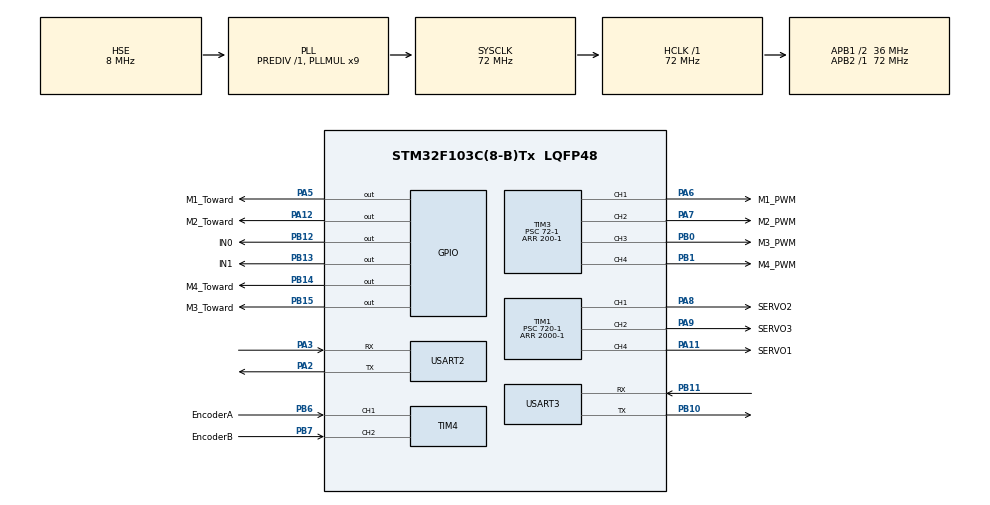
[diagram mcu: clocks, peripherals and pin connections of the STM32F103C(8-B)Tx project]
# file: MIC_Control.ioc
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Dma.Request0=USART2_RX
Dma.Request1=USART2_TX
Dma.Request2=USART3_RX
Dma.Request3=USART3_TX
Dma.USART2_RX.0.Direction=DMA_PERIPH_TO_MEMORY
Dma.USART2_RX.0.Instance=DMA1_Channel6
Dma.USART2_RX.0.MemDataAlignment=DMA_MDATAALIGN_BYTE
Dma.USART2_RX.0.MemInc=DMA_MINC_ENABLE
Dma.USART2_RX.0.Mode=DMA_NORMAL
Dma.USART2_RX.0.PeriphDataAlignment=DMA_PDATAALIGN_BYTE
Dma.USART2_RX.0.PeriphInc=DMA_PINC_DISABLE
Dma.USART2_RX.0.Priority=DMA_PRIORITY_LOW
Dma.USART2_TX.1.Direction=DMA_MEMORY_TO_PERIPH
Dma.USART2_TX.1.Instance=DMA1_Channel7
Dma.USART2_TX.1.MemDataAlignment=DMA_MDATAALIGN_BYTE
Dma.USART2_TX.1.MemInc=DMA_MINC_ENABLE
Dma.USART2_TX.1.Mode=DMA_NORMAL
Dma.USART2_TX.1.PeriphDataAlignment=DMA_PDATAALIGN_BYTE
Dma.USART2_TX.1.PeriphInc=DMA_PINC_DISABLE
Dma.USART2_TX.1.Priority=DMA_PRIORITY_LOW
Dma.USART3_RX.2.Direction=DMA_PERIPH_TO_MEMORY
Dma.USART3_RX.2.Instance=DMA1_Channel3
Dma.USART3_RX.2.MemDataAlignment=DMA_MDATAALIGN_BYTE
Dma.USART3_RX.2.MemInc=DMA_MINC_ENABLE
Dma.USART3_RX.2.Mode=DMA_NORMAL
Dma.USART3_RX.2.PeriphDataAlignment=DMA_PDATAALIGN_BYTE
Dma.USART3_RX.2.PeriphInc=DMA_PINC_DISABLE
Dma.USART3_RX.2.Priority=DMA_PRIORITY_LOW
Dma.USART3_TX.3.Direction=DMA_MEMORY_TO_PERIPH
Dma.USART3_TX.3.Instance=DMA1_Channel2
Dma.USART3_TX.3.MemDataAlignment=DMA_MDATAALIGN_BYTE
Dma.USART3_TX.3.MemInc=DMA_MINC_ENABLE
Dma.USART3_TX.3.Mode=DMA_NORMAL
Dma.USART3_TX.3.PeriphDataAlignment=DMA_PDATAALIGN_BYTE
Dma.USART3_TX.3.PeriphInc=DMA_PINC_DISABLE
Dma.USART3_TX.3.Priority=DMA_PRIORITY_LOW
Mcu.Family=STM32F1
Mcu.Name=STM32F103C(8-B)Tx
Mcu.Package=LQFP48
NVIC.DMA1_Channel2_IRQn=true\:0\:0\:false\:false\:true\:false\:true\:true
NVIC.DMA1_Channel3_IRQn=true\:0\:0\:false\:false\:true\:false\:true\:true
NVIC.DMA1_Channel6_IRQn=true\:0\:0\:false\:false\:true\:false\:true\:true
NVIC.DMA1_Channel7_IRQn=true\:0\:0\:false\:false\:true\:false\:true\:true
NVIC.PriorityGroup=NVIC_PRIORITYGROUP_4
NVIC.TIM2_IRQn=true\:0\:0\:false\:false\:true\:true\:true\:true
NVIC.USART2_IRQn=true\:0\:0\:false\:false\:true\:false\:true\:true
NVIC.USART3_IRQn=true\:0\:0\:false\:false\:true\:false\:true\:true
PA11.GPIO_Label=SERVO1
PA11.Signal=S_TIM1_CH4
PA12.GPIO_Label=M2_Toward
PA12.GPIO_PuPd=GPIO_PULLUP
PA12.GPIO_Speed=GPIO_SPEED_FREQ_HIGH
PA12.PinState=GPIO_PIN_RESET
PA12.Signal=GPIO_Output
PA13.Mode=Serial_Wire
PA13.Signal=SYS_JTMS-SWDIO
PA14.Mode=Serial_Wire
PA14.Signal=SYS_JTCK-SWCLK
PA2.Mode=Asynchronous
PA2.Signal=USART2_TX
PA3.Mode=Asynchronous
PA3.Signal=USART2_RX
PA5.GPIO_Label=M1_Toward
PA5.GPIO_PuPd=GPIO_PULLUP
PA5.GPIO_Speed=GPIO_SPEED_FREQ_HIGH
PA5.Signal=GPIO_Output
PA6.GPIO_Label=M1_PWM
PA6.Signal=S_TIM3_CH1
PA7.GPIO_Label=M2_PWM
PA7.Signal=S_TIM3_CH2
PA8.GPIO_Label=SERVO2
PA8.Signal=S_TIM1_CH1
PA9.GPIO_Label=SERVO3
PA9.Signal=S_TIM1_CH2
PB0.GPIO_Label=M3_PWM
PB0.Signal=S_TIM3_CH3
PB1.GPIO_Label=M4_PWM
PB1.Signal=S_TIM3_CH4
PB10.Mode=Asynchronous
PB10.Signal=USART3_TX
PB11.Mode=Asynchronous
PB11.Signal=USART3_RX
PB12.GPIO_Label=IN0
PB12.GPIO_ModeDefaultOutputPP=GPIO_MODE_OUTPUT_PP
PB12.GPIO_PuPd=GPIO_NOPULL
PB12.GPIO_Speed=GPIO_SPEED_FREQ_LOW
PB12.PinState=GPIO_PIN_SET
PB12.Signal=GPIO_Output
PB13.GPIO_Label=IN1
PB13.GPIO_ModeDefaultOutputPP=GPIO_MODE_OUTPUT_PP
PB13.GPIO_PuPd=GPIO_NOPULL
PB13.GPIO_Speed=GPIO_SPEED_FREQ_LOW
PB13.PinState=GPIO_PIN_SET
PB13.Signal=GPIO_Output
PB14.GPIO_Label=M4_Toward
PB14.GPIO_PuPd=GPIO_PULLUP
PB14.GPIO_Speed=GPIO_SPEED_FREQ_HIGH
PB14.Signal=GPIO_Output
PB15.GPIO_Label=M3_Toward
PB15.GPIO_PuPd=GPIO_PULLUP
PB15.GPIO_Speed=GPIO_SPEED_FREQ_HIGH
PB15.Signal=GPIO_Output
PB6.GPIO_Label=EncoderA
PB6.Signal=S_TIM4_CH1
PB7.GPIO_Label=EncoderB
PB7.Signal=S_TIM4_CH2
PD0-OSC_IN.Mode=HSE-External-Oscillator
PD0-OSC_IN.Signal=RCC_OSC_IN
PD1-OSC_OUT.Mode=HSE-External-Oscillator
PD1-OSC_OUT.Signal=RCC_OSC_OUT
ProjectManager.HeapSize=0x200
ProjectManager.StackSize=0x400
ProjectManager.TargetToolchain=MDK-ARM V5.32
RCC.AHBFreq_Value=72000000
RCC.APB1CLKDivider=RCC_HCLK_DIV2
RCC.APB1Freq_Value=36000000
RCC.APB1TimFreq_Value=72000000
RCC.APB2Freq_Value=72000000
RCC.APB2TimFreq_Value=72000000
RCC.HCLKFreq_Value=72000000
RCC.PLLMUL=RCC_PLL_MUL9
RCC.PLLSourceVirtual=RCC_PLLSOURCE_HSE
RCC.SYSCLKFreq_VALUE=72000000
RCC.SYSCLKSource=RCC_SYSCLKSOURCE_PLLCLK
RCC.USBFreq_Value=72000000
SH.S_TIM1_CH1.0=TIM1_CH1,PWM Generation1 CH1
SH.S_TIM1_CH2.0=TIM1_CH2,PWM Generation2 CH2
SH.S_TIM1_CH4.0=TIM1_CH4,PWM Generation4 CH4
SH.S_TIM3_CH1.0=TIM3_CH1,PWM Generation1 CH1
SH.S_TIM3_CH2.0=TIM3_CH2,PWM Generation2 CH2
SH.S_TIM3_CH3.0=TIM3_CH3,PWM Generation3 CH3
SH.S_TIM3_CH4.0=TIM3_CH4,PWM Generation4 CH4
SH.S_TIM4_CH1.0=TIM4_CH1,Encoder_Interface
SH.S_TIM4_CH2.0=TIM4_CH2,Encoder_Interface
TIM1.Channel-PWM\ Generation1\ CH1=TIM_CHANNEL_1
TIM1.Channel-PWM\ Generation2\ CH2=TIM_CHANNEL_2
TIM1.Channel-PWM\ Generation4\ CH4=TIM_CHANNEL_4
TIM1.Period=2000-1
TIM1.Prescaler=720-1
TIM2.Period=1000-1
TIM2.Prescaler=720-1
TIM3.Channel-PWM\ Generation1\ CH1=TIM_CHANNEL_1
TIM3.Channel-PWM\ Generation2\ CH2=TIM_CHANNEL_2
TIM3.Channel-PWM\ Generation3\ CH3=TIM_CHANNEL_3
TIM3.Channel-PWM\ Generation4\ CH4=TIM_CHANNEL_4
TIM3.OCMode_PWM-PWM\ Generation1\ CH1=TIM_OCMODE_PWM2
TIM3.OCMode_PWM-PWM\ Generation2\ CH2=TIM_OCMODE_PWM2
TIM3.OCMode_PWM-PWM\ Generation3\ CH3=TIM_OCMODE_PWM2
TIM3.OCMode_PWM-PWM\ Generation4\ CH4=TIM_OCMODE_PWM2
TIM3.Period=200-1
TIM3.Prescaler=72-1
TIM4.IC1Filter=15
TIM4.IC2Filter=15
USART2.VirtualMode=VM_ASYNC
USART3.VirtualMode=VM_ASYNC
VP_TIM2_VS_ClockSourceINT.Mode=Internal
VP_TIM3_VS_ClockSourceINT.Mode=Internal
board=custom

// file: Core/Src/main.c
//本版本为加时赛后完善了一下的代码
//30.4    测速带一阶卡尔曼滤波的版本

/* USER CODE BEGIN Header */
/**
 ******************************************************************************
 * @file           : main.c
 * @brief          : Main program body
 ******************************************************************************
 * @attention
 *
 * Copyright (c) 2024 STMicroelectronics.
 * All rights reserved.
 *
 * This software is licensed under terms that can be found in the LICENSE file
 * in the root directory of this software component.
 * If no LICENSE file comes with this software, it is provided AS-IS.
 *
 ******************************************************************************
 */
/* USER CODE END Header */
#include "main.h"
#include "dma.h"
#include "tim.h"
#include "usart.h"
#include "gpio.h"

/* USER CODE BEGIN Includes */
#include "ESP32.h"
#include "Motor.h"
#include "UART_ROS.h"
#include "Car_Solution.h"
#include "Kalman.h"

//test
#include <stdio.h>
#include <string.h>

//char TestSpeed[20];
//test

/* USER CODE END Includes */

void SystemClock_Config(void);

/* USER CODE BEGIN 0 */
uint8_t flag_TIM = 0; // 记录定时器现在是否空闲
int8_t Count_Motor;

// 重写HAL_InTick函数，用于ROS信息的定时请求
uint8_t Tick = 0, flag_Ros = 0, flag_ESP = 0;				//flag_Ros 1 接收错误 ， 0 正确
uint8_t Ros_Receive_Error;

void HAL_IncTick(void)
{

  uwTick += uwTickFreq;
  Tick++;

	//利用滴答定时器，实现数据错误时，延时一段时间后重新接收
  if (Tick == 1)
  {
		if(flag_Ros == 1){
			flag_Ros = 0;
			HAL_UART_Receive_DMA(&huart3,ROS_ReceiveData,4);
		}
		if(flag_ESP == 1){
			flag_ESP = 1;
			HAL_UART_Receive_DMA(&huart2, ESP32_Data, 5);
		}
    Tick = 0;
  }
}

void HAL_TIM_PeriodElapsedCallback(TIM_HandleTypeDef *htim)
{
  // 进入定时器测速
  if (htim == &htim2)
  {
    HAL_TIM_Base_Stop_IT(&htim2);
    Count_Motor = __HAL_TIM_GetCounter(&htim4);

    if (M0 == &M2 || M0 == &M3)
      Count_Motor = -Count_Motor;

    //M0->flag  = Count_Motor > 0 ? 1 : 0;      已经删了flag
    //M0->Last_Speed = M0->Speed;
    //M0->Speed = Count_Motor;                      // 记录的是10ms内的脉冲数
    //M0->Speed = (M0->Speed + M0->Last_Speed) / 2; // 采用均值滤波，防止应定时器开启时机造成的测速偏差
//
//		M0->Speed[0] = M0->Speed[1];
//		M0->Speed[1] = M0->Speed[2];
//		M0->Speed[2] = M0->Speed[3];
//		M0->Speed[3] = Count_Motor;
//		//4作为临界，小于4的转速是无法直接均值滤波出来的
//		if(M0->Speed[3] > 4){
//			M0->Speed[3] = (M0->Speed[0] + M0->Speed[1] + M0->Speed[2] + M0->Speed[3])/4;
//		}
		M0->Speed[3] = Count_Motor;

		M0->Speed[3] = Kalman_fifter(M0->Speed[3]);

		//M0->Speed[3] = Count_Motor;

//		if(M0 == &M1){
//			PI_Motor(M0);
//		}
    PID_Motor(M0);

		Set_Speed(M0,M0->PWM);

		//电机对应，只测1 2电机，1--4，2--3
		if(M0 == &M1){
			Set_Speed(&M4,M0->PWM);
		}
		else if(M0 == &M2){
			Set_Speed(&M3,M0->PWM);
		}

		flag_TIM = 0;

  }
}

void HAL_UART_RxCpltCallback(UART_HandleTypeDef *huart)
{
  // ESP32遥感数据
  if (huart == &huart2)
  {
    if (ESP32_Data[0] != 0xA5 && ESP32_Data[4] != 0x5A)
    {
      //HAL_NVIC_SystemReset(); // 第一帧接收数据帧错误时重启，重启，实现缓冲区清空缓冲区，可能会引起问题
															// 方法二，写一个数据缓冲区，有点麻烦    错误，不可行！！,应该不是写软件缓冲区可以解决的
			//HAL_UART_ClearReceiveBuffer(&huart2);
			flag_ESP = 1;
    }
    else
    {
			flag_ESP = 0;
			ESP32_Analysis();
      HAL_UART_Receive_DMA(&huart2, ESP32_Data, 5); //UART自带缓冲区，DMA与IT效果一样，若CPU占用高，对缓冲区内数据处理慢，则会覆盖
																										//以下两行注释错误
																										// 中断接受ESP32数据，不要用DMA，连续多次发送会造成buff覆盖
                                                    // 使用中断模式，则会一直接收到5个后，才释放串口状态，再开启，我猜
    }
  }
  // 上位机数据
  if (huart == &huart3 && NowMode == 0)
  {
		if(ROS_ReceiveData[0] != 0xA5 || ROS_ReceiveData[3] != 0x5A){
			flag_Ros = 1;

		}
		else{
			flag_Ros = 0;
			ROS_DataAnalysis();
			HAL_UART_Receive_DMA(&huart3, ROS_ReceiveData, 4);
		}
  }
}
/* USER CODE END 0 */

int main(void)
{

  /* MCU Configuration--------------------------------------------------------*/

  /* Reset of all peripherals, Initializes the Flash interface and the Systick. */
    HAL_Init();

  /* Configure the system clock */
  SystemClock_Config();

  /* Initialize all configured peripherals */
  MX_GPIO_Init();
  MX_DMA_Init();
  MX_USART2_UART_Init();
  MX_TIM1_Init();
  MX_TIM2_Init();
  MX_TIM3_Init();
  MX_TIM4_Init();
  MX_USART3_UART_Init();
  /* USER CODE BEGIN 2 */
  HAL_UART_Receive_DMA(&huart2, ESP32_Data, 5); // 开启与ESP32的通信接收

  Struct_Init(); // 对电机结构体状态的初始化
  Motor_Init();         // 开启电机四路PWM
  Servo_Init();         // 初始化舵机，开启PWM

  HAL_TIM_Encoder_Start(&htim4, TIM_CHANNEL_ALL); // 编码器测速通道开启

	/*测试方便用
  __HAL_TIM_SetCompare(&htim3, TIM_CHANNEL_1, 0);
  __HAL_TIM_SetCompare(&htim3, TIM_CHANNEL_2, 0);
  __HAL_TIM_SetCompare(&htim3, TIM_CHANNEL_3, 0);
  __HAL_TIM_SetCompare(&htim3, TIM_CHANNEL_4, 0);
	*/
  /* USER CODE END 2 */

  /* Infinite loop */
  /* USER CODE BEGIN WHILE */
  while (1)
  {
		//flag_Mode
		if(NowMode == 1){

		}

    if (flag_TIM == 0 && NowMode == 0)
		//if (flag_TIM == 0)
    {
      flag_TIM = 1; // 定时器被占用

      if (Now_Motor == 1)
      {
        Now_Motor++;
        // 444模拟开关切换
        HAL_GPIO_WritePin(GPIOB, GPIO_PIN_12, GPIO_PIN_SET);
        HAL_GPIO_WritePin(GPIOB, GPIO_PIN_13, GPIO_PIN_SET);
				HAL_Delay(2);
        Get_Speed(&M1);

      }
      else if (Now_Motor == 2)
      {
        Now_Motor = 1;
        // 444模拟开关切换
        HAL_GPIO_WritePin(GPIOB, GPIO_PIN_12, GPIO_PIN_RESET);
        HAL_GPIO_WritePin(GPIOB, GPIO_PIN_13, GPIO_PIN_SET);
				HAL_Delay(2);
        Get_Speed(&M2);
      }
    }
    /* USER CODE END WHILE */

    /* USER CODE BEGIN 3 */
		//PID_SET   test记得删
		//PID_SET(Kp,Ki,Kd);
		//
  /* USER CODE END 3 */
	}
}
void SystemClock_Config(void)
{
  RCC_OscInitTypeDef RCC_OscInitStruct = {0};
  RCC_ClkInitTypeDef RCC_ClkInitStruct = {0};

  /** Initializes the RCC Oscillators according to the specified parameters
  * in the RCC_OscInitTypeDef structure.
  */
  RCC_OscInitStruct.OscillatorType = RCC_OSCILLATORTYPE_HSE;
  RCC_OscInitStruct.HSEState = RCC_HSE_ON;
  RCC_OscInitStruct.HSEPredivValue = RCC_HSE_PREDIV_DIV1;
  RCC_OscInitStruct.HSIState = RCC_HSI_ON;
  RCC_OscInitStruct.PLL.PLLState = RCC_PLL_ON;
  RCC_OscInitStruct.PLL.PLLSource = RCC_PLLSOURCE_HSE;
  RCC_OscInitStruct.PLL.PLLMUL = RCC_PLL_MUL9;
  if (HAL_RCC_OscConfig(&RCC_OscInitStruct) != HAL_OK)
  {
    Error_Handler();
  }

  /** Initializes the CPU, AHB and APB buses clocks
  */
  RCC_ClkInitStruct.ClockType = RCC_CLOCKTYPE_HCLK|RCC_CLOCKTYPE_SYSCLK
                              |RCC_CLOCKTYPE_PCLK1|RCC_CLOCKTYPE_PCLK2;
  RCC_ClkInitStruct.SYSCLKSource = RCC_SYSCLKSOURCE_PLLCLK;
  RCC_ClkInitStruct.AHBCLKDivider = RCC_SYSCLK_DIV1;
  RCC_ClkInitStruct.APB1CLKDivider = RCC_HCLK_DIV2;
  RCC_ClkInitStruct.APB2CLKDivider = RCC_HCLK_DIV1;

  if (HAL_RCC_ClockConfig(&RCC_ClkInitStruct, FLASH_LATENCY_2) != HAL_OK)
  {
    Error_Handler();
  }
}

void Error_Handler(void)
{
  __disable_irq();
  while (1)
  {
  }
}
